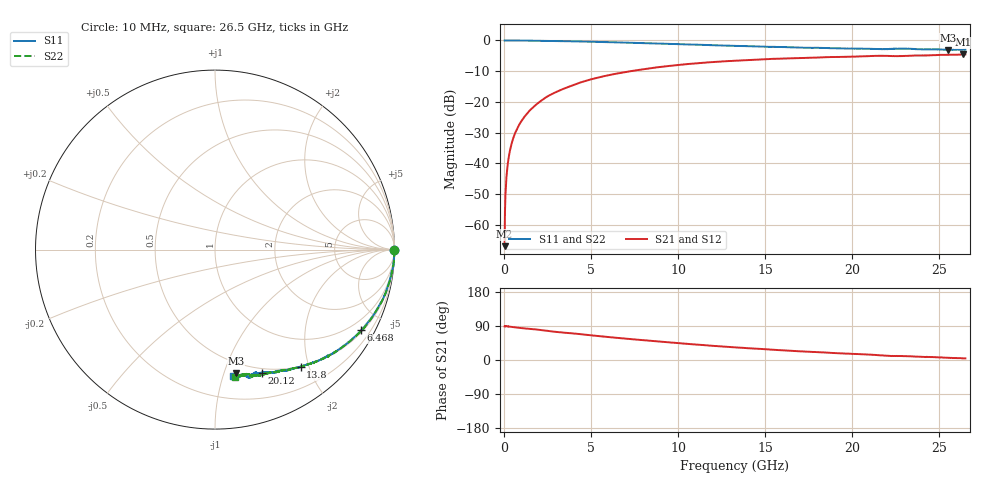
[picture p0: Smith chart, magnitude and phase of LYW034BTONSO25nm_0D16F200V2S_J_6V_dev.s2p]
!Keysight Technologies,N5222B,MY61253708,A.15.00.15
!Date: Wednesday, June 19, 2024 08:39:22
!Correction: S11(C  2-Port  )
!S21(C  2-Port  )
!S12(C  2-Port  )
!S22(C  2-Port  )
!S2P File: Measurements: S11, S21, S12, S22:
# Hz S  RI  R 50
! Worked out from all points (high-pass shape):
!   2651 points, 10 MHz to 26.5 GHz, reference 50 ohm
!   highest |S21| = -4.53 dB at 26.38 GHz (marker M1); lowest = -67.0 dB at 10 MHz (marker M2)
!   |S21| within 3 dB of the highest: 10.88 GHz to end of sweep
!   lowest |S11| = -3.1 dB at 25.5 GHz (marker M3), VSWR 5.66, Z = 20.3 - j54.9 ohm
!   |S11| at or under -10 dB: nowhere
!   |S22| runs from -3.0 to 0.0 dB; largest |S21 - S12| = 0.011
!   S11 on the Smith chart (normalised r, x): 10 MHz: open; 6.468 GHz: 0.57, -3.81; 13.8 GHz: 0.49, -1.86; 20.12 GHz: 0.45, -1.35; 26.5 GHz: 0.38, -1.08
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1e7  0.9987 -0.00242  1.12e-05 0.000445  -9.73e-05 0.000565  0.9986 -0.00101
1.599434e8  0.9997 -0.0144  0.000169 0.00816  0.000172 0.008  0.9994 -0.0134
1.999283e8  0.9997 -0.0174  0.000259 0.0102  0.000234 0.00997  0.9995 -0.0164
2.599057e8  0.9991 -0.0228  0.000412 0.0132  0.000396 0.0129  0.9992 -0.0215
3.598679e8  0.9987 -0.0313  0.00077 0.0182  0.000707 0.0179  0.9988 -0.0302
4.898189e8  0.9979 -0.0423  0.00132 0.0246  0.0013 0.0243  0.998 -0.0405
8.396868e8  0.9956 -0.071  0.00367 0.0418  0.00354 0.0413  0.996 -0.0698
1.449457e9  0.984 -0.1225  0.00943 0.0714  0.00904 0.0703  0.9869 -0.1176
2.319128e9  0.9672 -0.1882  0.0234 0.1124  0.0228 0.1112  0.9695 -0.187
3.208792e9  0.9447 -0.2544  0.045 0.1481  0.0439 0.1468  0.9465 -0.2516
4.428332e9  0.9008 -0.336  0.0785 0.1939  0.0768 0.1927  0.9048 -0.3313
6.467562e9  0.815 -0.4493  0.151 0.2463  0.1497 0.2453  0.8201 -0.4471
8.846664e9  0.7019 -0.5473  0.2408 0.2767  0.2389 0.2765  0.7073 -0.545
1.3255e10  0.5017 -0.6438  0.3899 0.2573  0.389 0.2577  0.5085 -0.6436
1.380479e10  0.4766 -0.6537  0.4045 0.2501  0.4033 0.2509  0.4867 -0.6509
1.767333e10  0.3334 -0.6822  0.4872 0.1915  0.4878 0.1909  0.3473 -0.6828
2.012241e10  0.2602 -0.6854  0.5248 0.1503  0.5265 0.1499  0.2769 -0.6916
2.209166e10  0.2181 -0.6885  0.5488 0.106  0.5482 0.1052  0.2141 -0.6979
2.308129e10  0.1901 -0.7137  0.5513 0.0981  0.5503 0.1  0.193 -0.6983
2.550038e10  0.1165 -0.6899  0.5804 0.0574  0.5808 0.0598  0.1361 -0.6994
2.638005e10  0.1048 -0.7011  0.5917 0.0452  0.5851 0.0479  0.1135 -0.7079
2.65e10  0.1015 -0.7035  0.5916 0.0448  0.589 0.0438  0.1131 -0.7074
